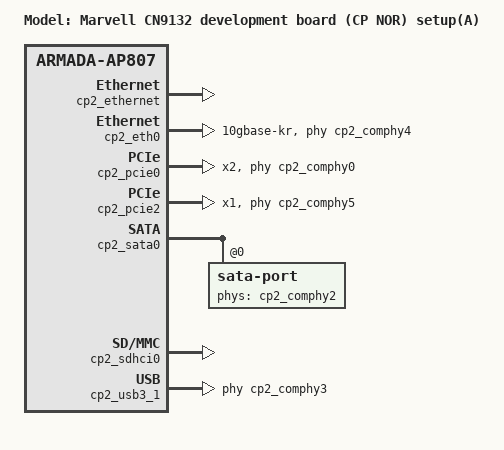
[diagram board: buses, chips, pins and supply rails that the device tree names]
/*
 * copyright (c) 2019 marvell international ltd.
 *
 * spdx-license-identifier:    gpl-2.0
 * https://spdx.org/licenses
 */

#include "cn9131-db-A.dts"
#include "cn9132-db.dtsi"

/ {
        model = "Model: Marvell CN9132 development board (CP NOR) setup(A)";
        compatible = "marvell,cn9132-db-A", "marvell,armada-ap807-quad",
                     "marvell,armada-ap807";

        aliases {
                gpio5 = &cp2_gpio1;
                gpio6 = &cp2_gpio2;
                ethernet5 = &cp2_eth0;
        };
};

&cp2_ethernet {
        status = "okay";
};

/* SLM-1521-V2, CON9 */
&cp2_eth0 {
        status = "okay";
        phy-mode = "10gbase-kr";
        /* Generic PHY, providing serdes lanes */
        phys = <&cp2_comphy4 0>;
        managed = "in-band-status";
        sfp = <&cp2_sfp_eth0>;
};

/* SLM-1521-V2, CON6 */
&cp2_pcie0 {
        status = "okay";
        num-lanes = <2>;
        num-viewport = <8>;
        /* Generic PHY, providing serdes lanes */
        phys = <&cp2_comphy0 0
                &cp2_comphy1 0>;
};

/* SLM-1521-V2, CON8 */
&cp2_pcie2 {
        status = "okay";
        num-lanes = <1>;
        num-viewport = <8>;
        /* Generic PHY, providing serdes lanes */
        phys = <&cp2_comphy5 2>;
};

&cp2_sata0 {
        status = "okay";
        /* SLM-1521-V2, CON4 */
        sata-port@0 {
                status = "okay";
                /* Generic PHY, providing serdes lanes */
                phys = <&cp2_comphy2 0>;
        };
};

/* CON 2 on SLM-1683 - microSD */
&cp2_sdhci0 {
        status = "okay";
};

/* SLM-1521-V2, CON11 */
&cp2_usb3_1 {
        status = "okay";
        /* Generic PHY, providing serdes lanes */
        phys = <&cp2_comphy3 1>;
};
